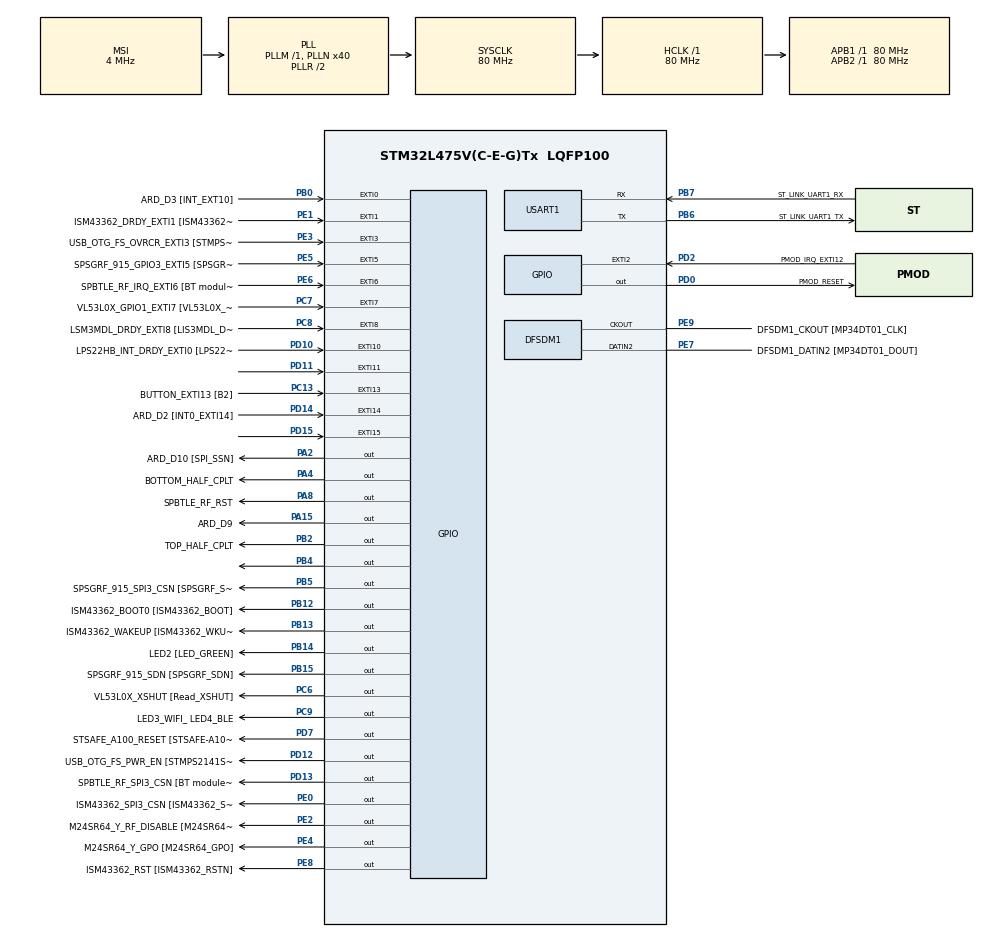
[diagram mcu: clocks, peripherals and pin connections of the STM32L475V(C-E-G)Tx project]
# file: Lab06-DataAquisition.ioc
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ADC1.Channel-0\#ChannelRegularConversion=ADC_CHANNEL_TEMPSENSOR
ADC1.ClockPrescaler=ADC_CLOCK_ASYNC_DIV4
ADC1.ContinuousConvMode=DISABLE
ADC1.DMAContinuousRequests=ENABLE
ADC1.EnableInjectedConversion=DISABLE
ADC1.ExternalTrigConv=ADC_EXTERNALTRIG_T1_TRGO
ADC1.NbrOfConversion=1
ADC1.NbrOfConversionFlag=1
ADC1.OffsetNumber-0\#ChannelRegularConversion=ADC_OFFSET_NONE
ADC1.Overrun=ADC_OVR_DATA_OVERWRITTEN
ADC1.OversamplingMode=DISABLE
ADC1.Rank-0\#ChannelRegularConversion=1
ADC1.SamplingTime-0\#ChannelRegularConversion=ADC_SAMPLETIME_640CYCLES_5
ADC1.master=1
DFSDM1.Divider=40
DFSDM1.DmaMode_reg_FIL0=ENABLE
DFSDM1.FastMode_reg_FIL0=ENABLE
DFSDM1.Filter_regChannel_FIL0=DFSDM_CHANNEL_2
DFSDM1.Fosr_FIL0=250
DFSDM1.SincOrder_FIL0=DFSDM_FILTER_SINC3_ORDER
Dma.ADC1.0.Direction=DMA_PERIPH_TO_MEMORY
Dma.ADC1.0.Instance=DMA1_Channel1
Dma.ADC1.0.MemDataAlignment=DMA_MDATAALIGN_HALFWORD
Dma.ADC1.0.MemInc=DMA_MINC_ENABLE
Dma.ADC1.0.Mode=DMA_CIRCULAR
Dma.ADC1.0.PeriphDataAlignment=DMA_PDATAALIGN_HALFWORD
Dma.ADC1.0.PeriphInc=DMA_PINC_DISABLE
Dma.ADC1.0.Priority=DMA_PRIORITY_MEDIUM
Dma.DFSDM1_FLT0.1.Direction=DMA_PERIPH_TO_MEMORY
Dma.DFSDM1_FLT0.1.Instance=DMA1_Channel4
Dma.DFSDM1_FLT0.1.MemDataAlignment=DMA_MDATAALIGN_WORD
Dma.DFSDM1_FLT0.1.MemInc=DMA_MINC_ENABLE
Dma.DFSDM1_FLT0.1.Mode=DMA_CIRCULAR
Dma.DFSDM1_FLT0.1.PeriphDataAlignment=DMA_PDATAALIGN_WORD
Dma.DFSDM1_FLT0.1.PeriphInc=DMA_PINC_DISABLE
Dma.DFSDM1_FLT0.1.Priority=DMA_PRIORITY_LOW
Dma.Request0=ADC1
Dma.Request1=DFSDM1_FLT0
FREERTOS.Tasks01=mainTask,24,128,startMain,Default,NULL,Dynamic,NULL,NULL
FREERTOS.configUSE_NEWLIB_REENTRANT=1
Mcu.Family=STM32L4
Mcu.Name=STM32L475V(C-E-G)Tx
Mcu.Package=LQFP100
NVIC.ADC1_2_IRQn=true\:5\:0\:false\:false\:true\:true\:true\:true\:true
NVIC.DMA1_Channel1_IRQn=true\:5\:0\:false\:false\:true\:true\:false\:true\:true
NVIC.DMA1_Channel4_IRQn=true\:5\:0\:false\:false\:true\:true\:false\:true\:true
NVIC.EXTI15_10_IRQn=true\:5\:0\:false\:false\:true\:true\:true\:true\:true
NVIC.EXTI9_5_IRQn=true\:5\:0\:false\:false\:true\:true\:true\:true\:true
NVIC.PriorityGroup=NVIC_PRIORITYGROUP_4
NVIC.TIM1_UP_TIM16_IRQn=true\:5\:0\:false\:false\:true\:true\:true\:true\:true
NVIC.TIM6_DAC_IRQn=true\:15\:0\:false\:false\:true\:false\:false\:true\:true
NVIC.TimeBase=TIM6_DAC_IRQn
NVIC.TimeBaseIP=TIM6
PA0.GPIO_Label=ARD_D1 [UART4_TX]
PA0.Signal=UART4_TX
PA1.GPIO_Label=ARD_D0 [UART4_RX]
PA1.Signal=UART4_RX
PA10.GPIO_Label=USB_OTG_FS_ID
PA10.Signal=USB_OTG_FS_ID
PA11.GPIO_Label=USB_OTG_FS_DM
PA11.Signal=USB_OTG_FS_DM
PA12.GPIO_Label=USB_OTG_FS_DP
PA12.Signal=USB_OTG_FS_DP
PA13\ (JTMS-SWDIO).GPIO_Label=SYS_JTMS_SWDIO
PA13\ (JTMS-SWDIO).Mode=Serial_Wire
PA13\ (JTMS-SWDIO).Signal=SYS_JTMS-SWDIO
PA14\ (JTCK-SWCLK).GPIO_Label=SYS_JTCK_SWCLK
PA14\ (JTCK-SWCLK).Mode=Serial_Wire
PA14\ (JTCK-SWCLK).Signal=SYS_JTCK-SWCLK
PA15\ (JTDI).GPIO_Label=ARD_D9
PA15\ (JTDI).Signal=GPIO_Output
PA2.GPIO_Label=ARD_D10 [SPI_SSN]
PA2.Signal=GPIO_Output
PA3.GPIO_Label=ARD_D4
PA3.Signal=S_TIM2_CH4
PA4.GPIO_Label=BOTTOM_HALF_CPLT
PA4.Signal=GPIO_Output
PA5.GPIO_Label=ARD_D13 [SPI1_SCK]
PA5.Signal=SPI1_SCK
PA6.GPIO_Label=ARD_D12 [SPI1_MISO]
PA6.Signal=SPI1_MISO
PA7.GPIO_Label=ARD_D11 [SPI1_MOSI]
PA7.Signal=SPI1_MOSI
PA8.GPIO_Label=SPBTLE_RF_RST
PA8.Signal=GPIO_Output
PA9.GPIO_Label=USB_OTG_FS_VBUS [STMPS2141STR_OUT]
PA9.Signal=USB_OTG_FS_VBUS
PB0.GPIO_Label=ARD_D3 [INT_EXT10]
PB0.Signal=GPXTI0
PB1.GPIO_Label=ARD_D6 [ADC1_IN6]
PB1.Signal=ADCx_IN16
PB10.GPIO_Label=INTERNAL_I2C2_SCL [VL53L0X_SCL]
PB10.Signal=I2C2_SCL
PB11.GPIO_Label=INTERNAL_I2C2_SDA [VL53L0X_SDA]
PB11.Signal=I2C2_SDA
PB12.GPIO_Label=ISM43362_BOOT0 [ISM43362_BOOT]
PB12.Signal=GPIO_Output
PB13.GPIO_Label=ISM43362_WAKEUP [ISM43362_WKUP]
PB13.Signal=GPIO_Output
PB14.GPIO_Label=LED2 [LED_GREEN]
PB14.Signal=GPIO_Output
PB15.GPIO_Label=SPSGRF_915_SDN [SPSGRF_SDN]
PB15.Signal=GPIO_Output
PB2.GPIO_Label=TOP_HALF_CPLT
PB2.Signal=GPIO_Output
PB3\ (JTDO-TRACESWO).GPIO_Label=SYS_JTD0_SWO
PB3\ (JTDO-TRACESWO).Signal=SYS_JTDO-SWO
PB4\ (NJTRST).Signal=GPIO_Output
PB5.GPIO_Label=SPSGRF_915_SPI3_CSN [SPSGRF_SPI_CS]
PB5.PinState=GPIO_PIN_SET
PB5.Signal=GPIO_Output
PB6.GPIO_Label=ST_LINK_UART1_TX
PB6.Mode=Asynchronous
PB6.Signal=USART1_TX
PB7.GPIO_Label=ST_LINK_UART1_RX
PB7.Mode=Asynchronous
PB7.Signal=USART1_RX
PB8.GPIO_Label=ARD_D15 [I2C1_SCL]
PB8.Signal=I2C1_SCL
PB9.GPIO_Label=ARD_D14 [I2C1_SDA]
PB9.Signal=I2C1_SDA
PC0.GPIO_Label=ARD_A5 [ADC]
PC0.Signal=ADCx_IN1
PC1.GPIO_Label=ARD_A4 [ADC]
PC1.Signal=ADCx_IN2
PC10.GPIO_Label=INTERNAL_SPI3_SCK [BT module_SPI_SCLK] [ISM43362_SCK]
PC10.Signal=SPI3_SCK
PC11.GPIO_Label=INTERNAL_SPI3_MISO [BT module_SPI_MISO] [ISM43362_MISO]
PC11.Signal=SPI3_MISO
PC12.GPIO_Label=INTERNAL_SPI3_MOSI [BT module_SPI_MOSI] [ISM43362_MOSI]
PC12.Signal=SPI3_MOSI
PC13.GPIO_Label=BUTTON_EXTI13 [B2]
PC13.GPIO_ModeDefaultEXTI=GPIO_MODE_IT_FALLING
PC13.Signal=GPXTI13
PC14-OSC32_IN\ (PC14).Signal=RCC_OSC32_IN
PC15-OSC32_OUT\ (PC15).Signal=RCC_OSC32_OUT
PC2.GPIO_Label=ARD_A3 [ADC]
PC2.Signal=ADCx_IN3
PC3.GPIO_Label=ARD_A2 [ADC]
PC3.Signal=ADCx_IN4
PC4.GPIO_Label=ARD_A1 [ADC]
PC4.Signal=ADCx_IN13
PC5.GPIO_Label=ARD_A0 [ADC]
PC5.Signal=ADCx_IN14
PC6.GPIO_Label=VL53L0X_XSHUT [Read_XSHUT]
PC6.Signal=GPIO_Output
PC7.GPIO_Label=VL53L0X_GPIO1_EXTI7 [VL53L0X_GPIO1]
PC7.Signal=GPXTI7
PC8.GPIO_Label=LSM3MDL_DRDY_EXTI8 [LIS3MDL_DRDY]
PC8.Signal=GPXTI8
PC9.GPIO_Label=LED3_WIFI_ LED4_BLE
PC9.Signal=GPIO_Output
PD0.GPIO_Label=PMOD_RESET
PD0.Signal=GPIO_Output
PD1.GPIO_Label=PMOD_SPI2_SCK
PD1.Signal=SPI2_SCK
PD10.GPIO_Label=LPS22HB_INT_DRDY_EXTI0 [LPS22HB_INT_DRDY] 
PD10.Signal=GPXTI10
PD11.Signal=GPXTI11
PD12.GPIO_Label=USB_OTG_FS_PWR_EN [STMPS2141STR_EN]
PD12.Signal=GPIO_Output
PD13.GPIO_Label=SPBTLE_RF_SPI3_CSN [BT module_SPI_CS]
PD13.PinState=GPIO_PIN_SET
PD13.Signal=GPIO_Output
PD14.GPIO_Label=ARD_D2 [INT0_EXTI14]
PD14.Signal=GPXTI14
PD15.Signal=GPXTI15
PD2.GPIO_Label=PMOD_IRQ_EXTI12
PD2.Signal=GPXTI2
PD3.GPIO_Label=PMOD_UART2_CTS
PD3.Signal=USART2_CTS
PD4.GPIO_Label=PMOD_UART2_RTS
PD4.Signal=USART2_RTS
PD5.GPIO_Label=PMOD_UART2_TX
PD5.Signal=USART2_TX
PD6.GPIO_Label=PMOD_UART2_RX
PD6.Signal=USART2_RX
PD7.GPIO_Label=STSAFE_A100_RESET [STSAFE-A100_RESET]
PD7.Signal=GPIO_Output
PD8.GPIO_Label=INTERNAL_UART3_TX [ISM43362_RX]
PD8.Signal=USART3_TX
PD9.GPIO_Label=INTERNAL_UART3_RX [ISM43362_TX]
PD9.Signal=USART3_RX
PE0.GPIO_Label=ISM43362_SPI3_CSN [ISM43362_SSN]
PE0.PinState=GPIO_PIN_SET
PE0.Signal=GPIO_Output
PE1.GPIO_Label=ISM43362_DRDY_EXTI1 [ISM43362_DATARDY]
PE1.Signal=GPXTI1
PE10.GPIO_Label=QUADSPI_CLK [MX25R6435F_SCLK]
PE10.Signal=QUADSPI_CLK
PE11.GPIO_Label=QUADSPI_NCS [MX25R6435F_SCLK]
PE11.Signal=QUADSPI_NCS
PE12.GPIO_Label=OQUADSPI_BK1_IO0 [MX25R6435F_IO0]
PE12.Signal=QUADSPI_BK1_IO0
PE13.GPIO_Label=QUADSPI_BK1_IO1 [MX25R6435F_IO1]
PE13.Signal=QUADSPI_BK1_IO1
PE14.GPIO_Label=QUAD_SPI_BK1_IO2 [MX25R6435F_IO2]
PE14.Signal=QUADSPI_BK1_IO2
PE15.GPIO_Label=QUAD_SPI_BK1_IO3 [MX25R6435F_IO3]
PE15.Signal=QUADSPI_BK1_IO3
PE2.GPIO_Label=M24SR64_Y_RF_DISABLE [M24SR64_RFDIS]
PE2.Signal=GPIO_Output
PE3.GPIO_Label=USB_OTG_FS_OVRCR_EXTI3 [STMPS2141STR_FAULT]
PE3.Signal=GPXTI3
PE4.GPIO_Label=M24SR64_Y_GPO [M24SR64_GPO]
PE4.Signal=GPIO_Output
PE5.GPIO_Label=SPSGRF_915_GPIO3_EXTI5 [SPSGRF_GPIO_3]
PE5.Signal=GPXTI5
PE6.GPIO_Label=SPBTLE_RF_IRQ_EXTI6 [BT module_SPI_IRQ]
PE6.Signal=GPXTI6
PE7.GPIO_Label=DFSDM1_DATIN2 [MP34DT01_DOUT]
PE7.Signal=S_DATAIN2DFSDM1
PE8.GPIO_Label=ISM43362_RST [ISM43362_RSTN]
PE8.Signal=GPIO_Output
PE9.GPIO_Label=DFSDM1_CKOUT [MP34DT01_CLK]
PE9.Signal=S_CKOUTDFSDM1
ProjectManager.HeapSize=0x200
ProjectManager.StackSize=0x400
ProjectManager.TargetToolchain=STM32CubeIDE
RCC.ADCFreq_Value=32000000
RCC.AHBFreq_Value=80000000
RCC.APB1Freq_Value=80000000
RCC.APB1TimFreq_Value=80000000
RCC.APB2Freq_Value=80000000
RCC.APB2TimFreq_Value=80000000
RCC.CortexFreq_Value=80000000
RCC.HCLKFreq_Value=80000000
RCC.HSE_VALUE=8000000
RCC.HSI_VALUE=16000000
RCC.LSE_VALUE=32768
RCC.MSI_VALUE=4000000
RCC.PLLN=40
RCC.PLLSAI1N=16
RCC.SYSCLKFreq_VALUE=80000000
RCC.SYSCLKSource=RCC_SYSCLKSOURCE_PLLCLK
RCC.USBFreq_Value=32000000
RCC.VCOOutputFreq_Value=160000000
SH.ADCx_IN1.0=ADC1_IN1
SH.ADCx_IN13.0=ADC1_IN13
SH.ADCx_IN14.0=ADC1_IN14
SH.ADCx_IN16.0=ADC1_IN16
SH.ADCx_IN2.0=ADC1_IN2
SH.ADCx_IN3.0=ADC1_IN3
SH.ADCx_IN4.0=ADC1_IN4
SH.S_CKOUTDFSDM1.0=DFSDM1_CKOUT,PDM_SPI_input_from_ch2_and_internal_clock
SH.S_CKOUTDFSDM1.1=DFSDM1_CKOUT,CKOUT
SH.S_DATAIN2DFSDM1.0=DFSDM1_DATIN2,PDM_SPI_input_from_ch2_and_internal_clock
SH.S_TIM2_CH4.0=TIM2_CH4
TIM1.Period=1000-1
TIM1.Prescaler=16000-1
TIM1.TIM_MasterOutputTrigger=TIM_TRGO_UPDATE
USART1.VirtualMode-Asynchronous=VM_ASYNC
VP_ADC1_TempSens_Input.Mode=IN-TempSens
VP_ADC1_Vref_Input.Mode=IN-Vrefint
VP_FREERTOS_VS_CMSIS_V2.Mode=CMSIS_V2
VP_SYS_VS_tim6.Mode=TIM6
VP_TIM1_VS_ClockSourceINT.Mode=Internal
board=B-L475E-IOT01A2

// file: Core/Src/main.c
/* USER CODE BEGIN Header */
/**
  ******************************************************************************
  * @file           : main.c
  * @brief          : Main program body
  ******************************************************************************
  * @attention
  *
  * Copyright (c) 2025 STMicroelectronics.
  * All rights reserved.
  *
  * This software is licensed under terms that can be found in the LICENSE file
  * in the root directory of this software component.
  * If no LICENSE file comes with this software, it is provided AS-IS.
  *
  ******************************************************************************
  */
/* USER CODE END Header */
#include "main.h"
#include "cmsis_os.h"

/* USER CODE BEGIN Includes */
#include "string.h"
#include "stdio.h"
/* USER CODE END Includes */

/* USER CODE BEGIN PD */
#define AUDIO_BUFF_LEN 1024
#define MSG_LEN 64
/* USER CODE END PD */

ADC_HandleTypeDef hadc1;
DMA_HandleTypeDef hdma_adc1;

DFSDM_Filter_HandleTypeDef hdfsdm1_filter0;
DFSDM_Channel_HandleTypeDef hdfsdm1_channel2;
DMA_HandleTypeDef hdma_dfsdm1_flt0;

TIM_HandleTypeDef htim1;

UART_HandleTypeDef huart1;

/* Definitions for mainTask */
osThreadId_t mainTaskHandle;
const osThreadAttr_t mainTask_attributes = {
  .name = "mainTask",
  .stack_size = 128 * 4,
  .priority = (osPriority_t) osPriorityNormal,
};
/* USER CODE BEGIN PV */
int32_t raw_audio[AUDIO_BUFF_LEN];
int32_t play_audio[AUDIO_BUFF_LEN];
uint8_t half_cplt = 0, conv_cplt = 0;
uint8_t msg[MSG_LEN];
/* USER CODE END PV */

void SystemClock_Config(void);
static void MX_GPIO_Init(void);
static void MX_DMA_Init(void);
static void MX_ADC1_Init(void);
static void MX_TIM1_Init(void);
static void MX_USART1_UART_Init(void);
static void MX_DFSDM1_Init(void);
void startMain(void *argument);

int main(void)
{

  /* MCU Configuration--------------------------------------------------------*/

  /* Reset of all peripherals, Initializes the Flash interface and the Systick. */
  HAL_Init();

  /* Configure the system clock */
  SystemClock_Config();

  /* Initialize all configured peripherals */
  MX_GPIO_Init();
  MX_DMA_Init();
  MX_ADC1_Init();
  MX_TIM1_Init();
  MX_USART1_UART_Init();
  MX_DFSDM1_Init();
  /* USER CODE BEGIN 2 */
  strcpy((char*)msg, "Hello!\n");
  HAL_DFSDM_FilterRegularStart_DMA(&hdfsdm1_filter0, raw_audio, AUDIO_BUFF_LEN);
  HAL_UART_Transmit(&huart1, msg, 64, 10);
  //HAL_ADC_Start_DMA(&hadc1, (uint32_t*)temp, BUFF_LEN);
  HAL_TIM_Base_Start(&htim1);
  /* USER CODE END 2 */

  /* Init scheduler */
  osKernelInitialize();

  /* Create the thread(s) */
  /* creation of mainTask */
  mainTaskHandle = osThreadNew(startMain, NULL, &mainTask_attributes);

  /* Start scheduler */
  osKernelStart();

  /* We should never get here as control is now taken by the scheduler */

  /* Infinite loop */
  while (1)
  {

  }
}

void SystemClock_Config(void)
{
  RCC_OscInitTypeDef RCC_OscInitStruct = {0};
  RCC_ClkInitTypeDef RCC_ClkInitStruct = {0};

  /** Configure the main internal regulator output voltage
  */
  if (HAL_PWREx_ControlVoltageScaling(PWR_REGULATOR_VOLTAGE_SCALE1) != HAL_OK)
  {
    Error_Handler();
  }

  /** Initializes the RCC Oscillators according to the specified parameters
  * in the RCC_OscInitTypeDef structure.
  */
  RCC_OscInitStruct.OscillatorType = RCC_OSCILLATORTYPE_MSI;
  RCC_OscInitStruct.MSIState = RCC_MSI_ON;
  RCC_OscInitStruct.MSICalibrationValue = 0;
  RCC_OscInitStruct.MSIClockRange = RCC_MSIRANGE_6;
  RCC_OscInitStruct.PLL.PLLState = RCC_PLL_ON;
  RCC_OscInitStruct.PLL.PLLSource = RCC_PLLSOURCE_MSI;
  RCC_OscInitStruct.PLL.PLLM = 1;
  RCC_OscInitStruct.PLL.PLLN = 40;
  RCC_OscInitStruct.PLL.PLLP = RCC_PLLP_DIV7;
  RCC_OscInitStruct.PLL.PLLQ = RCC_PLLQ_DIV2;
  RCC_OscInitStruct.PLL.PLLR = RCC_PLLR_DIV2;
  if (HAL_RCC_OscConfig(&RCC_OscInitStruct) != HAL_OK)
  {
    Error_Handler();
  }

  /** Initializes the CPU, AHB and APB buses clocks
  */
  RCC_ClkInitStruct.ClockType = RCC_CLOCKTYPE_HCLK|RCC_CLOCKTYPE_SYSCLK
                              |RCC_CLOCKTYPE_PCLK1|RCC_CLOCKTYPE_PCLK2;
  RCC_ClkInitStruct.SYSCLKSource = RCC_SYSCLKSOURCE_PLLCLK;
  RCC_ClkInitStruct.AHBCLKDivider = RCC_SYSCLK_DIV1;
  RCC_ClkInitStruct.APB1CLKDivider = RCC_HCLK_DIV1;
  RCC_ClkInitStruct.APB2CLKDivider = RCC_HCLK_DIV1;

  if (HAL_RCC_ClockConfig(&RCC_ClkInitStruct, FLASH_LATENCY_4) != HAL_OK)
  {
    Error_Handler();
  }
}

static void MX_ADC1_Init(void)
{

  ADC_MultiModeTypeDef multimode = {0};
  ADC_ChannelConfTypeDef sConfig = {0};

  /** Common config
  */
  hadc1.Instance = ADC1;
  hadc1.Init.ClockPrescaler = ADC_CLOCK_ASYNC_DIV4;
  hadc1.Init.Resolution = ADC_RESOLUTION_12B;
  hadc1.Init.DataAlign = ADC_DATAALIGN_RIGHT;
  hadc1.Init.ScanConvMode = ADC_SCAN_DISABLE;
  hadc1.Init.EOCSelection = ADC_EOC_SINGLE_CONV;
  hadc1.Init.LowPowerAutoWait = DISABLE;
  hadc1.Init.ContinuousConvMode = DISABLE;
  hadc1.Init.NbrOfConversion = 1;
  hadc1.Init.DiscontinuousConvMode = DISABLE;
  hadc1.Init.ExternalTrigConv = ADC_EXTERNALTRIG_T1_TRGO;
  hadc1.Init.ExternalTrigConvEdge = ADC_EXTERNALTRIGCONVEDGE_RISING;
  hadc1.Init.DMAContinuousRequests = ENABLE;
  hadc1.Init.Overrun = ADC_OVR_DATA_OVERWRITTEN;
  hadc1.Init.OversamplingMode = DISABLE;
  if (HAL_ADC_Init(&hadc1) != HAL_OK)
  {
    Error_Handler();
  }

  /** Configure the ADC multi-mode
  */
  multimode.Mode = ADC_MODE_INDEPENDENT;
  if (HAL_ADCEx_MultiModeConfigChannel(&hadc1, &multimode) != HAL_OK)
  {
    Error_Handler();
  }

  /** Configure Regular Channel
  */
  sConfig.Channel = ADC_CHANNEL_TEMPSENSOR;
  sConfig.Rank = ADC_REGULAR_RANK_1;
  sConfig.SamplingTime = ADC_SAMPLETIME_640CYCLES_5;
  sConfig.SingleDiff = ADC_SINGLE_ENDED;
  sConfig.OffsetNumber = ADC_OFFSET_NONE;
  sConfig.Offset = 0;
  if (HAL_ADC_ConfigChannel(&hadc1, &sConfig) != HAL_OK)
  {
    Error_Handler();
  }

}

static void MX_DFSDM1_Init(void)
{

  hdfsdm1_filter0.Instance = DFSDM1_Filter0;
  hdfsdm1_filter0.Init.RegularParam.Trigger = DFSDM_FILTER_SW_TRIGGER;
  hdfsdm1_filter0.Init.RegularParam.FastMode = ENABLE;
  hdfsdm1_filter0.Init.RegularParam.DmaMode = ENABLE;
  hdfsdm1_filter0.Init.FilterParam.SincOrder = DFSDM_FILTER_SINC3_ORDER;
  hdfsdm1_filter0.Init.FilterParam.Oversampling = 250;
  hdfsdm1_filter0.Init.FilterParam.IntOversampling = 1;
  if (HAL_DFSDM_FilterInit(&hdfsdm1_filter0) != HAL_OK)
  {
    Error_Handler();
  }
  hdfsdm1_channel2.Instance = DFSDM1_Channel2;
  hdfsdm1_channel2.Init.OutputClock.Activation = ENABLE;
  hdfsdm1_channel2.Init.OutputClock.Selection = DFSDM_CHANNEL_OUTPUT_CLOCK_SYSTEM;
  hdfsdm1_channel2.Init.OutputClock.Divider = 40;
  hdfsdm1_channel2.Init.Input.Multiplexer = DFSDM_CHANNEL_EXTERNAL_INPUTS;
  hdfsdm1_channel2.Init.Input.DataPacking = DFSDM_CHANNEL_STANDARD_MODE;
  hdfsdm1_channel2.Init.Input.Pins = DFSDM_CHANNEL_SAME_CHANNEL_PINS;
  hdfsdm1_channel2.Init.SerialInterface.Type = DFSDM_CHANNEL_SPI_RISING;
  hdfsdm1_channel2.Init.SerialInterface.SpiClock = DFSDM_CHANNEL_SPI_CLOCK_INTERNAL;
  hdfsdm1_channel2.Init.Awd.FilterOrder = DFSDM_CHANNEL_FASTSINC_ORDER;
  hdfsdm1_channel2.Init.Awd.Oversampling = 1;
  hdfsdm1_channel2.Init.Offset = 0;
  hdfsdm1_channel2.Init.RightBitShift = 0x00;
  if (HAL_DFSDM_ChannelInit(&hdfsdm1_channel2) != HAL_OK)
  {
    Error_Handler();
  }
  if (HAL_DFSDM_FilterConfigRegChannel(&hdfsdm1_filter0, DFSDM_CHANNEL_2, DFSDM_CONTINUOUS_CONV_ON) != HAL_OK)
  {
    Error_Handler();
  }

}

static void MX_TIM1_Init(void)
{

  TIM_ClockConfigTypeDef sClockSourceConfig = {0};
  TIM_MasterConfigTypeDef sMasterConfig = {0};

  htim1.Instance = TIM1;
  htim1.Init.Prescaler = 16000-1;
  htim1.Init.CounterMode = TIM_COUNTERMODE_UP;
  htim1.Init.Period = 1000-1;
  htim1.Init.ClockDivision = TIM_CLOCKDIVISION_DIV1;
  htim1.Init.RepetitionCounter = 0;
  htim1.Init.AutoReloadPreload = TIM_AUTORELOAD_PRELOAD_DISABLE;
  if (HAL_TIM_Base_Init(&htim1) != HAL_OK)
  {
    Error_Handler();
  }
  sClockSourceConfig.ClockSource = TIM_CLOCKSOURCE_INTERNAL;
  if (HAL_TIM_ConfigClockSource(&htim1, &sClockSourceConfig) != HAL_OK)
  {
    Error_Handler();
  }
  sMasterConfig.MasterOutputTrigger = TIM_TRGO_UPDATE;
  sMasterConfig.MasterOutputTrigger2 = TIM_TRGO2_RESET;
  sMasterConfig.MasterSlaveMode = TIM_MASTERSLAVEMODE_DISABLE;
  if (HAL_TIMEx_MasterConfigSynchronization(&htim1, &sMasterConfig) != HAL_OK)
  {
    Error_Handler();
  }

}

static void MX_USART1_UART_Init(void)
{

  huart1.Instance = USART1;
  huart1.Init.BaudRate = 115200;
  huart1.Init.WordLength = UART_WORDLENGTH_8B;
  huart1.Init.StopBits = UART_STOPBITS_1;
  huart1.Init.Parity = UART_PARITY_NONE;
  huart1.Init.Mode = UART_MODE_TX_RX;
  huart1.Init.HwFlowCtl = UART_HWCONTROL_NONE;
  huart1.Init.OverSampling = UART_OVERSAMPLING_16;
  huart1.Init.OneBitSampling = UART_ONE_BIT_SAMPLE_DISABLE;
  huart1.AdvancedInit.AdvFeatureInit = UART_ADVFEATURE_NO_INIT;
  if (HAL_UART_Init(&huart1) != HAL_OK)
  {
    Error_Handler();
  }

}

static void MX_DMA_Init(void)
{

  /* DMA controller clock enable */
  __HAL_RCC_DMA1_CLK_ENABLE();

  /* DMA interrupt init */
  /* DMA1_Channel1_IRQn interrupt configuration */
  HAL_NVIC_SetPriority(DMA1_Channel1_IRQn, 5, 0);
  HAL_NVIC_EnableIRQ(DMA1_Channel1_IRQn);
  /* DMA1_Channel4_IRQn interrupt configuration */
  HAL_NVIC_SetPriority(DMA1_Channel4_IRQn, 5, 0);
  HAL_NVIC_EnableIRQ(DMA1_Channel4_IRQn);

}

static void MX_GPIO_Init(void)
{
  GPIO_InitTypeDef GPIO_InitStruct = {0};

  /* GPIO Ports Clock Enable */
  __HAL_RCC_GPIOE_CLK_ENABLE();
  __HAL_RCC_GPIOC_CLK_ENABLE();
  __HAL_RCC_GPIOA_CLK_ENABLE();
  __HAL_RCC_GPIOB_CLK_ENABLE();
  __HAL_RCC_GPIOD_CLK_ENABLE();

  /*Configure GPIO pin Output Level */
  HAL_GPIO_WritePin(GPIOE, M24SR64_Y_RF_DISABLE_Pin|M24SR64_Y_GPO_Pin|ISM43362_RST_Pin, GPIO_PIN_RESET);

  /*Configure GPIO pin Output Level */
  HAL_GPIO_WritePin(GPIOA, ARD_D10_Pin|BOTTOM_HALF_CPLT_Pin|SPBTLE_RF_RST_Pin|ARD_D9_Pin, GPIO_PIN_RESET);

  /*Configure GPIO pin Output Level */
  HAL_GPIO_WritePin(GPIOB, TOP_HALF_CPLT_Pin|ISM43362_BOOT0_Pin|ISM43362_WAKEUP_Pin|LED2_Pin
                          |SPSGRF_915_SDN_Pin|GPIO_PIN_4, GPIO_PIN_RESET);

  /*Configure GPIO pin Output Level */
  HAL_GPIO_WritePin(GPIOD, USB_OTG_FS_PWR_EN_Pin|PMOD_RESET_Pin|STSAFE_A100_RESET_Pin, GPIO_PIN_RESET);

  /*Configure GPIO pin Output Level */
  HAL_GPIO_WritePin(SPBTLE_RF_SPI3_CSN_GPIO_Port, SPBTLE_RF_SPI3_CSN_Pin, GPIO_PIN_SET);

  /*Configure GPIO pin Output Level */
  HAL_GPIO_WritePin(GPIOC, VL53L0X_XSHUT_Pin|LED3_WIFI__LED4_BLE_Pin, GPIO_PIN_RESET);

  /*Configure GPIO pin Output Level */
  HAL_GPIO_WritePin(SPSGRF_915_SPI3_CSN_GPIO_Port, SPSGRF_915_SPI3_CSN_Pin, GPIO_PIN_SET);

  /*Configure GPIO pin Output Level */
  HAL_GPIO_WritePin(ISM43362_SPI3_CSN_GPIO_Port, ISM43362_SPI3_CSN_Pin, GPIO_PIN_SET);

  /*Configure GPIO pins : M24SR64_Y_RF_DISABLE_Pin M24SR64_Y_GPO_Pin ISM43362_RST_Pin ISM43362_SPI3_CSN_Pin */
  GPIO_InitStruct.Pin = M24SR64_Y_RF_DISABLE_Pin|M24SR64_Y_GPO_Pin|ISM43362_RST_Pin|ISM43362_SPI3_CSN_Pin;
  GPIO_InitStruct.Mode = GPIO_MODE_OUTPUT_PP;
  GPIO_InitStruct.Pull = GPIO_NOPULL;
  GPIO_InitStruct.Speed = GPIO_SPEED_FREQ_LOW;
  HAL_GPIO_Init(GPIOE, &GPIO_InitStruct);

  /*Configure GPIO pins : USB_OTG_FS_OVRCR_EXTI3_Pin SPSGRF_915_GPIO3_EXTI5_Pin SPBTLE_RF_IRQ_EXTI6_Pin ISM43362_DRDY_EXTI1_Pin */
  GPIO_InitStruct.Pin = USB_OTG_FS_OVRCR_EXTI3_Pin|SPSGRF_915_GPIO3_EXTI5_Pin|SPBTLE_RF_IRQ_EXTI6_Pin|ISM43362_DRDY_EXTI1_Pin;
  GPIO_InitStruct.Mode = GPIO_MODE_IT_RISING;
  GPIO_InitStruct.Pull = GPIO_NOPULL;
  HAL_GPIO_Init(GPIOE, &GPIO_InitStruct);

  /*Configure GPIO pin : BUTTON_EXTI13_Pin */
  GPIO_InitStruct.Pin = BUTTON_EXTI13_Pin;
  GPIO_InitStruct.Mode = GPIO_MODE_IT_FALLING;
  GPIO_InitStruct.Pull = GPIO_NOPULL;
  HAL_GPIO_Init(BUTTON_EXTI13_GPIO_Port, &GPIO_InitStruct);

  /*Configure GPIO pins : ARD_D1_Pin ARD_D0_Pin */
  GPIO_InitStruct.Pin = ARD_D1_Pin|ARD_D0_Pin;
  GPIO_InitStruct.Mode = GPIO_MODE_AF_PP;
  GPIO_InitStruct.Pull = GPIO_NOPULL;
  GPIO_InitStruct.Speed = GPIO_SPEED_FREQ_VERY_HIGH;
  GPIO_InitStruct.Alternate = GPIO_AF8_UART4;
  HAL_GPIO_Init(GPIOA, &GPIO_InitStruct);

  /*Configure GPIO pins : ARD_D10_Pin BOTTOM_HALF_CPLT_Pin SPBTLE_RF_RST_Pin ARD_D9_Pin */
  GPIO_InitStruct.Pin = ARD_D10_Pin|BOTTOM_HALF_CPLT_Pin|SPBTLE_RF_RST_Pin|ARD_D9_Pin;
  GPIO_InitStruct.Mode = GPIO_MODE_OUTPUT_PP;
  GPIO_InitStruct.Pull = GPIO_NOPULL;
  GPIO_InitStruct.Speed = GPIO_SPEED_FREQ_LOW;
  HAL_GPIO_Init(GPIOA, &GPIO_InitStruct);

  /*Configure GPIO pin : ARD_D4_Pin */
  GPIO_InitStruct.Pin = ARD_D4_Pin;
  GPIO_InitStruct.Mode = GPIO_MODE_AF_PP;
  GPIO_InitStruct.Pull = GPIO_NOPULL;
  GPIO_InitStruct.Speed = GPIO_SPEED_FREQ_LOW;
  GPIO_InitStruct.Alternate = GPIO_AF1_TIM2;
  HAL_GPIO_Init(ARD_D4_GPIO_Port, &GPIO_InitStruct);

  /*Configure GPIO pins : ARD_D13_Pin ARD_D12_Pin ARD_D11_Pin */
  GPIO_InitStruct.Pin = ARD_D13_Pin|ARD_D12_Pin|ARD_D11_Pin;
  GPIO_InitStruct.Mode = GPIO_MODE_AF_PP;
  GPIO_InitStruct.Pull = GPIO_NOPULL;
  GPIO_InitStruct.Speed = GPIO_SPEED_FREQ_VERY_HIGH;
  GPIO_InitStruct.Alternate = GPIO_AF5_SPI1;
  HAL_GPIO_Init(GPIOA, &GPIO_InitStruct);

  /*Configure GPIO pin : ARD_D3_Pin */
  GPIO_InitStruct.Pin = ARD_D3_Pin;
  GPIO_InitStruct.Mode = GPIO_MODE_IT_RISING;
  GPIO_InitStruct.Pull = GPIO_NOPULL;
  HAL_GPIO_Init(ARD_D3_GPIO_Port, &GPIO_InitStruct);

  /*Configure GPIO pins : TOP_HALF_CPLT_Pin ISM43362_BOOT0_Pin ISM43362_WAKEUP_Pin LED2_Pin
                           SPSGRF_915_SDN_Pin PB4 SPSGRF_915_SPI3_CSN_Pin */
  GPIO_InitStruct.Pin = TOP_HALF_CPLT_Pin|ISM43362_BOOT0_Pin|ISM43362_WAKEUP_Pin|LED2_Pin
                          |SPSGRF_915_SDN_Pin|GPIO_PIN_4|SPSGRF_915_SPI3_CSN_Pin;
  GPIO_InitStruct.Mode = GPIO_MODE_OUTPUT_PP;
  GPIO_InitStruct.Pull = GPIO_NOPULL;
  GPIO_InitStruct.Speed = GPIO_SPEED_FREQ_LOW;
  HAL_GPIO_Init(GPIOB, &GPIO_InitStruct);

  /*Configure GPIO pins : QUADSPI_CLK_Pin QUADSPI_NCS_Pin OQUADSPI_BK1_IO0_Pin QUADSPI_BK1_IO1_Pin
                           QUAD_SPI_BK1_IO2_Pin QUAD_SPI_BK1_IO3_Pin */
  GPIO_InitStruct.Pin = QUADSPI_CLK_Pin|QUADSPI_NCS_Pin|OQUADSPI_BK1_IO0_Pin|QUADSPI_BK1_IO1_Pin
                          |QUAD_SPI_BK1_IO2_Pin|QUAD_SPI_BK1_IO3_Pin;
  GPIO_InitStruct.Mode = GPIO_MODE_AF_PP;
  GPIO_InitStruct.Pull = GPIO_NOPULL;
  GPIO_InitStruct.Speed = GPIO_SPEED_FREQ_VERY_HIGH;
  GPIO_InitStruct.Alternate = GPIO_AF10_QUADSPI;
  HAL_GPIO_Init(GPIOE, &GPIO_InitStruct);

  /*Configure GPIO pins : INTERNAL_I2C2_SCL_Pin INTERNAL_I2C2_SDA_Pin */
  GPIO_InitStruct.Pin = INTERNAL_I2C2_SCL_Pin|INTERNAL_I2C2_SDA_Pin;
  GPIO_InitStruct.Mode = GPIO_MODE_AF_OD;
  GPIO_InitStruct.Pull = GPIO_NOPULL;
  GPIO_InitStruct.Speed = GPIO_SPEED_FREQ_VERY_HIGH;
  GPIO_InitStruct.Alternate = GPIO_AF4_I2C2;
  HAL_GPIO_Init(GPIOB, &GPIO_InitStruct);

  /*Configure GPIO pins : INTERNAL_UART3_TX_Pin INTERNAL_UART3_RX_Pin */
  GPIO_InitStruct.Pin = INTERNAL_UART3_TX_Pin|INTERNAL_UART3_RX_Pin;
  GPIO_InitStruct.Mode = GPIO_MODE_AF_PP;
  GPIO_InitStruct.Pull = GPIO_NOPULL;
  GPIO_InitStruct.Speed = GPIO_SPEED_FREQ_VERY_HIGH;
  GPIO_InitStruct.Alternate = GPIO_AF7_USART3;
  HAL_GPIO_Init(GPIOD, &GPIO_InitStruct);

  /*Configure GPIO pins : LPS22HB_INT_DRDY_EXTI0_Pin PD11 ARD_D2_Pin PD15
                           PMOD_IRQ_EXTI12_Pin */
  GPIO_InitStruct.Pin = LPS22HB_INT_DRDY_EXTI0_Pin|GPIO_PIN_11|ARD_D2_Pin|GPIO_PIN_15
                          |PMOD_IRQ_EXTI12_Pin;
  GPIO_InitStruct.Mode = GPIO_MODE_IT_RISING;
  GPIO_InitStruct.Pull = GPIO_NOPULL;
  HAL_GPIO_Init(GPIOD, &GPIO_InitStruct);

  /*Configure GPIO pins : USB_OTG_FS_PWR_EN_Pin SPBTLE_RF_SPI3_CSN_Pin PMOD_RESET_Pin STSAFE_A100_RESET_Pin */
  GPIO_InitStruct.Pin = USB_OTG_FS_PWR_EN_Pin|SPBTLE_RF_SPI3_CSN_Pin|PMOD_RESET_Pin|STSAFE_A100_RESET_Pin;
  GPIO_InitStruct.Mode = GPIO_MODE_OUTPUT_PP;
  GPIO_InitStruct.Pull = GPIO_NOPULL;
  GPIO_InitStruct.Speed = GPIO_SPEED_FREQ_LOW;
  HAL_GPIO_Init(GPIOD, &GPIO_InitStruct);

  /*Configure GPIO pins : VL53L0X_XSHUT_Pin LED3_WIFI__LED4_BLE_Pin */
  GPIO_InitStruct.Pin = VL53L0X_XSHUT_Pin|LED3_WIFI__LED4_BLE_Pin;
  GPIO_InitStruct.Mode = GPIO_MODE_OUTPUT_PP;
  GPIO_InitStruct.Pull = GPIO_NOPULL;
  GPIO_InitStruct.Speed = GPIO_SPEED_FREQ_LOW;
  HAL_GPIO_Init(GPIOC, &GPIO_InitStruct);

  /*Configure GPIO pins : VL53L0X_GPIO1_EXTI7_Pin LSM3MDL_DRDY_EXTI8_Pin */
  GPIO_InitStruct.Pin = VL53L0X_GPIO1_EXTI7_Pin|LSM3MDL_DRDY_EXTI8_Pin;
  GPIO_InitStruct.Mode = GPIO_MODE_IT_RISING;
  GPIO_InitStruct.Pull = GPIO_NOPULL;
  HAL_GPIO_Init(GPIOC, &GPIO_InitStruct);

  /*Configure GPIO pin : USB_OTG_FS_VBUS_Pin */
  GPIO_InitStruct.Pin = USB_OTG_FS_VBUS_Pin;
  GPIO_InitStruct.Mode = GPIO_MODE_INPUT;
  GPIO_InitStruct.Pull = GPIO_NOPULL;
  HAL_GPIO_Init(USB_OTG_FS_VBUS_GPIO_Port, &GPIO_InitStruct);

  /*Configure GPIO pins : USB_OTG_FS_ID_Pin USB_OTG_FS_DM_Pin USB_OTG_FS_DP_Pin */
  GPIO_InitStruct.Pin = USB_OTG_FS_ID_Pin|USB_OTG_FS_DM_Pin|USB_OTG_FS_DP_Pin;
  GPIO_InitStruct.Mode = GPIO_MODE_AF_PP;
  GPIO_InitStruct.Pull = GPIO_NOPULL;
  GPIO_InitStruct.Speed = GPIO_SPEED_FREQ_VERY_HIGH;
  GPIO_InitStruct.Alternate = GPIO_AF10_OTG_FS;
  HAL_GPIO_Init(GPIOA, &GPIO_InitStruct);

  /*Configure GPIO pins : INTERNAL_SPI3_SCK_Pin INTERNAL_SPI3_MISO_Pin INTERNAL_SPI3_MOSI_Pin */
  GPIO_InitStruct.Pin = INTERNAL_SPI3_SCK_Pin|INTERNAL_SPI3_MISO_Pin|INTERNAL_SPI3_MOSI_Pin;
  GPIO_InitStruct.Mode = GPIO_MODE_AF_PP;
  GPIO_InitStruct.Pull = GPIO_NOPULL;
  GPIO_InitStruct.Speed = GPIO_SPEED_FREQ_VERY_HIGH;
  GPIO_InitStruct.Alternate = GPIO_AF6_SPI3;
  HAL_GPIO_Init(GPIOC, &GPIO_InitStruct);

  /*Configure GPIO pin : PMOD_SPI2_SCK_Pin */
  GPIO_InitStruct.Pin = PMOD_SPI2_SCK_Pin;
  GPIO_InitStruct.Mode = GPIO_MODE_AF_PP;
  GPIO_InitStruct.Pull = GPIO_NOPULL;
  GPIO_InitStruct.Speed = GPIO_SPEED_FREQ_VERY_HIGH;
  GPIO_InitStruct.Alternate = GPIO_AF5_SPI2;
  HAL_GPIO_Init(PMOD_SPI2_SCK_GPIO_Port, &GPIO_InitStruct);

  /*Configure GPIO pins : PMOD_UART2_CTS_Pin PMOD_UART2_RTS_Pin PMOD_UART2_TX_Pin PMOD_UART2_RX_Pin */
  GPIO_InitStruct.Pin = PMOD_UART2_CTS_Pin|PMOD_UART2_RTS_Pin|PMOD_UART2_TX_Pin|PMOD_UART2_RX_Pin;
  GPIO_InitStruct.Mode = GPIO_MODE_AF_PP;
  GPIO_InitStruct.Pull = GPIO_NOPULL;
  GPIO_InitStruct.Speed = GPIO_SPEED_FREQ_VERY_HIGH;
  GPIO_InitStruct.Alternate = GPIO_AF7_USART2;
  HAL_GPIO_Init(GPIOD, &GPIO_InitStruct);

  /*Configure GPIO pins : ARD_D15_Pin ARD_D14_Pin */
  GPIO_InitStruct.Pin = ARD_D15_Pin|ARD_D14_Pin;
  GPIO_InitStruct.Mode = GPIO_MODE_AF_OD;
  GPIO_InitStruct.Pull = GPIO_NOPULL;
  GPIO_InitStruct.Speed = GPIO_SPEED_FREQ_VERY_HIGH;
  GPIO_InitStruct.Alternate = GPIO_AF4_I2C1;
  HAL_GPIO_Init(GPIOB, &GPIO_InitStruct);

  /* EXTI interrupt init*/
  HAL_NVIC_SetPriority(EXTI9_5_IRQn, 5, 0);
  HAL_NVIC_EnableIRQ(EXTI9_5_IRQn);

  HAL_NVIC_SetPriority(EXTI15_10_IRQn, 5, 0);
  HAL_NVIC_EnableIRQ(EXTI15_10_IRQn);

}

/* USER CODE BEGIN 4 */
void HAL_DFSDM_FilterRegConvCpltCallback(DFSDM_Filter_HandleTypeDef *hdfsdm_filter)
{
	conv_cplt = 1;
}
void HAL_DFSDM_FilterRegConvHalfCpltCallback(DFSDM_Filter_HandleTypeDef *hdfsdm_filter)
{
	half_cplt = 1;
}

void HAL_ADC_ConvCpltCallback(ADC_HandleTypeDef *hadc)
{
	if(hadc == &hadc1)
	{
		//conv_cplt = 1;
	}
}

void HAL_ADC_ConvHalfCpltCallback(ADC_HandleTypeDef *hadc)
{
	if(hadc == &hadc1)
	{
		//half_cplt = 1;
	}
}
/* USER CODE END 4 */

void startMain(void *argument)
{
  /* USER CODE BEGIN 5 */
  /* Infinite loop */
  for(;;)
  {
	  if(conv_cplt)
	  {
		  for(int32_t *pr = raw_audio + AUDIO_BUFF_LEN/2, *pp = play_audio + AUDIO_BUFF_LEN/2; pr < raw_audio + AUDIO_BUFF_LEN; pr++, pp++)
		  {
			  *pp = *pr >> 8;
		  }
		  HAL_GPIO_TogglePin(BOTTOM_HALF_CPLT_GPIO_Port, BOTTOM_HALF_CPLT_Pin);
		  conv_cplt = 0;
	  }
	  if(half_cplt)
	  {
		  for(int32_t *pr = raw_audio, *pp = play_audio; pr < raw_audio + AUDIO_BUFF_LEN/2; pr++, pp++)
		  {
			  *pp = *pr >> 8;
		  }
		  HAL_GPIO_TogglePin(TOP_HALF_CPLT_GPIO_Port, TOP_HALF_CPLT_Pin);
		  half_cplt = 0;
	  }
    osDelay(1);
  }
  /* USER CODE END 5 */
}

void HAL_TIM_PeriodElapsedCallback(TIM_HandleTypeDef *htim)
{
  if (htim->Instance == TIM6)
  {
    HAL_IncTick();
  }
}

void Error_Handler(void)
{
  __disable_irq();
  while (1)
  {
  }
}
